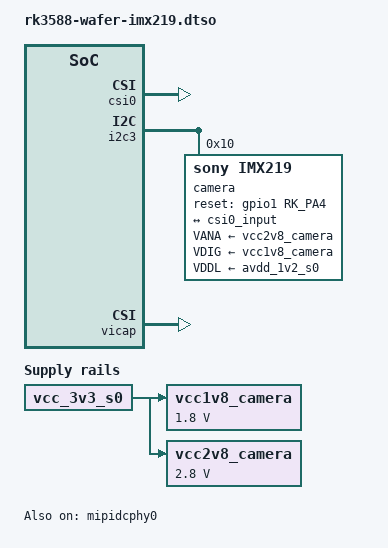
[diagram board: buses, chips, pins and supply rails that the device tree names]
// SPDX-License-Identifier: (GPL-2.0+ OR MIT)
/*
 * Device tree overlay for a Sony IMX219 camera module attached to the
 * MIPI CSI connector of the IEI WAFER-RK3588.
 *
 * Copyright (c) 2026 IEI Integration Corp.
 */

/dts-v1/;
/plugin/;

#include <dt-bindings/clock/rockchip,rk3588-cru.h>
#include <dt-bindings/gpio/gpio.h>
#include <dt-bindings/pinctrl/rockchip.h>

&{/} {
	vcc1v8_camera: regulator-vcc1v8-camera {
		compatible = "regulator-fixed";
		regulator-name = "vcc1v8_camera";
		regulator-min-microvolt = <1800000>;
		regulator-max-microvolt = <1800000>;
		vin-supply = <&vcc_3v3_s0>;
	};

	vcc2v8_camera: regulator-vcc2v8-camera {
		compatible = "regulator-fixed";
		regulator-name = "vcc2v8_camera";
		regulator-min-microvolt = <2800000>;
		regulator-max-microvolt = <2800000>;
		vin-supply = <&vcc_3v3_s0>;
	};
};

&csi0 {
	status = "okay";
};

&csi0_in {
	csi0_input: endpoint {
		clock-lanes = <0>;
		data-lanes = <1 2>;
		remote-endpoint = <&imx219_out>;
	};
};

&i2c3 {
	#address-cells = <1>;
	#size-cells = <0>;
	pinctrl-names = "default";
	pinctrl-0 = <&i2c3m2_xfer>;
	status = "okay";

	camera@10 {
		compatible = "sony,imx219";
		reg = <0x10>;
		clocks = <&cru CLK_MIPI_CAMARAOUT_M1>;
		assigned-clocks = <&cru CLK_MIPI_CAMARAOUT_M1>;
		assigned-clock-rates = <24000000>;
		pinctrl-names = "default";
		pinctrl-0 = <&mipim0_camera1_clk &camera_pwdn>;
		VANA-supply = <&vcc2v8_camera>;
		VDIG-supply = <&vcc1v8_camera>;
		VDDL-supply = <&avdd_1v2_s0>;
		reset-gpios = <&gpio1 RK_PA4 GPIO_ACTIVE_HIGH>;

		port {
			imx219_out: endpoint {
				clock-lanes = <0>;
				data-lanes = <1 2>;
				link-frequencies = /bits/ 64 <456000000>;
				remote-endpoint = <&csi0_input>;
			};
		};
	};
};

&mipidcphy0 {
	status = "okay";
};

&pinctrl {
	camera {
		camera_pwdn: camera-pwdn {
			rockchip,pins = <1 RK_PA4 RK_FUNC_GPIO &pcfg_pull_up>;
		};
	};
};

&vicap {
	status = "okay";
};

&vicap_mmu {
	status = "okay";
};
